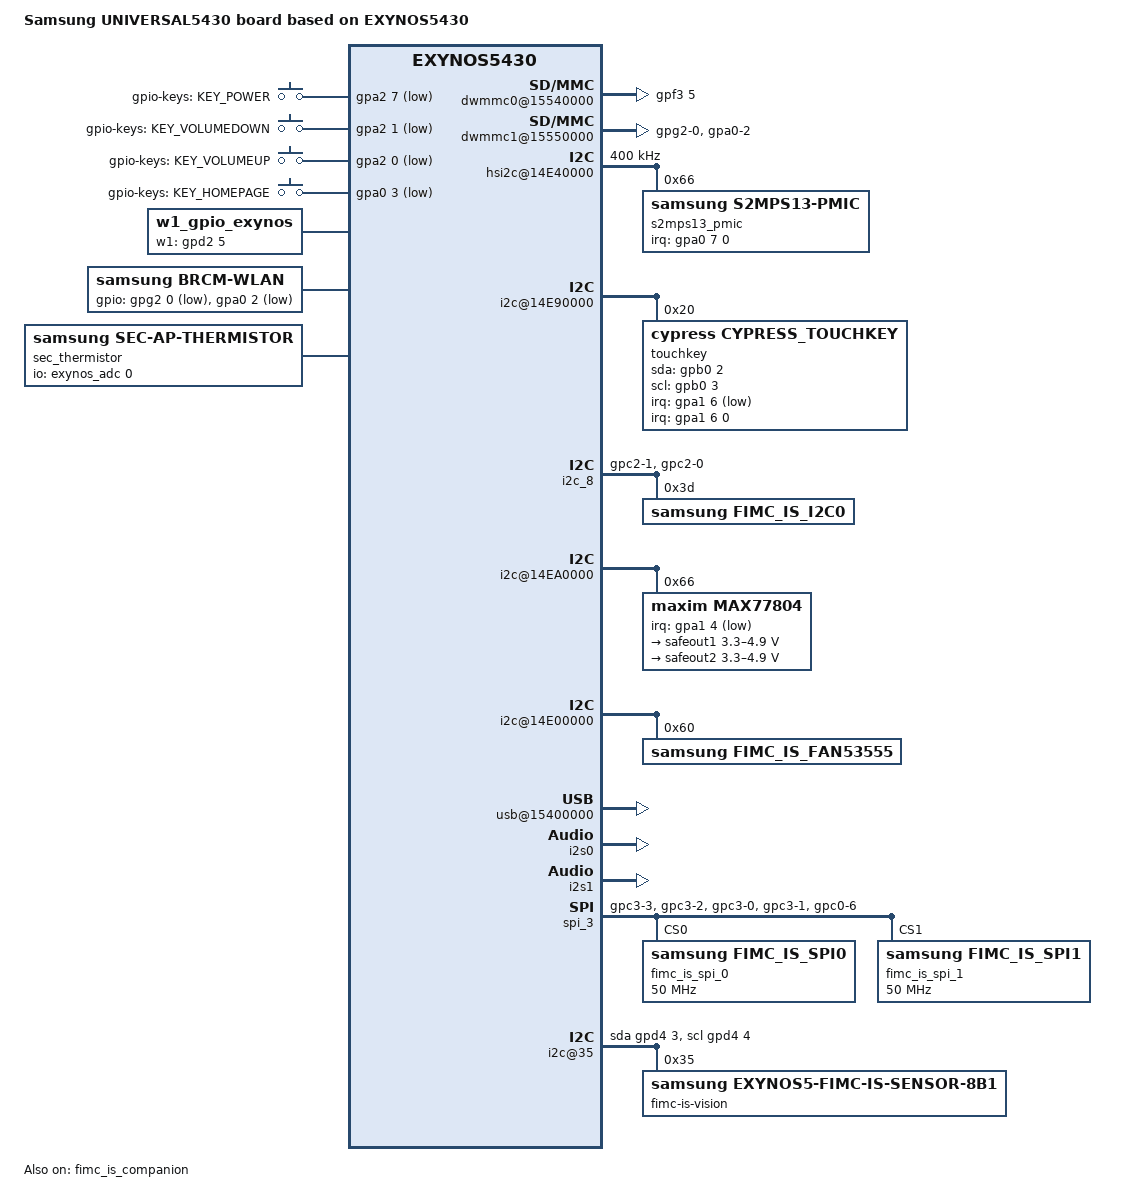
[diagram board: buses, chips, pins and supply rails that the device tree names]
/*
 * SAMSUNG UNIVERSAL5430 board device tree source
 *
 * Copyright (c) 2013 Samsung Electronics Co., Ltd.
 *		http://www.samsung.com
 *
 * This program is free software; you can redistribute it and/or modify
 * it under the terms of the GNU General Public License version 2 as
 * published by the Free Software Foundation.
*/

#include "exynos5430.dtsi"

/ {
	model = "Samsung UNIVERSAL5430 board based on EXYNOS5430";
	compatible = "samsung,UNIVERSAL5430", "samsung,exynos5430";

	chosen {
		bootargs = "console=ttySAC1,115200 vmalloc=512M";
	};

	fixed-rate-clocks {
		oscclk {
			compatible = "samsung,exynos5430-oscclk";
			clock-frequency = <24000000>;
		};
	};

	dwmmc0@15540000 {
		status = "okay";
		num-slots = <1>;
		broken-cd;
		bypass-smu;
		fixed_volt;
		clock-gate;
		enable-cclk-on-suspend;
		only_once_tune;
		supports-highspeed;
		supports-hs200-1-8v-mode;
		supports-ddr200-1-8v-mode;
		device-driver = <1>;
		supports-poweroff-notification;
		supports-ddr200-enhanced-strobe;
		error-retry;
		enable-cache-control;
		enable-no-sleep-cmd;
		qos_int_level = <200000>;
		extra_tuning;
		bypass-for-allpass;
		use-fine-tuning;
		use-enable-shift;
		ignore-phase = <(1 << 7 | 1 << 6)>;
		fifo-depth = <0x80>;
		card-detect-delay = <200>;
		samsung,dw-mshc-ciu-div = <3>;
		samsung,dw-mshc-sdr-timing = <3 0 2 0>;
		samsung,dw-mshc-ddr-timing = <3 0 3 2>;
		samsung,dw-mshc-hs200-timing = <3 0 3 0>;
		samsung,dw-mshc-ddr200-timing = <1 0 2 0>;
		samsung,dw-mshc-ddr200-delay-line = <100>;
		clk_pin = "gpr0-0";
		clk_addr = "15690000.pinctrl";
		clk_val = <0x2>;
		clk_str_num = <6>;
		num-ref-clks = <8>;
		ciu_clkin = <25 50 50 100 200 100 200 400>;
		pinctrl-names = "default";
		pinctrl-0 = <&sd0_clk &sd0_cmd &sd0_rdqs &sd0_bus1 &sd0_bus4 &sd0_bus8>;
		gpios = <&gpf3 5 0>;

		slot@0 {
			reg = <0>;
			bus-width = <8>;
		};
	};

	dwmmc1@15550000 {
		status = "okay";
		num-slots = <1>;
		channel = <1>;
		fixed_volt;
		clock-gate;
		enable-cclk-on-suspend;
		caps-control;
		supports-highspeed;
		supports-sdr104-mode;
		keep-power-in-suspend;
		pm-ignore-notify;
		cd-type-external;
		cd-type = <2>;
		use-broken-voltage;
		use-fine-tuning;
		ignore-phase = <(1 << 7)>;
		fifo-depth = <0x40>;
		card-detect-delay = <200>;
		qos_int_level = <200000>;
		samsung,dw-mshc-ciu-div = <3>;
		samsung,dw-mshc-sdr-timing = <3 0 2 1>;
		samsung,dw-mshc-ddr-timing = <3 0 3 2>;
		clk_pin = "gpr2-0";
		clk_addr = "15690000.pinctrl";
		clk_val = <0x2>;
		clk_str_num = <6>;
		num-ref-clks = <8>;
		ciu_clkin = <25 50 50 100 200 100 200 400>;
		tp_mon_depth = <3>;
						/* Byte/s,	 MIF clk, CPU clk, KFC clk*/
		tp_mon_table = <18000000 825000	2000000 1500000
						12000000 413000	0	0
						0	 0	0	0>;
		pinctrl-names = "default";
		//pinctrl-0 = <&sd1_clk &sd1_cmd &sd1_bus1 &sd1_bus4>;
		pinctrl-0 = <&sd1_clk &sd1_cmd &sd1_bus1 &sd1_bus4 &cfg_wlanen &cfg_wlanhostwake>; /* Set WLAN_EN configuration of power down mode */

		slot@0 {
			reg = <0>;
			bus-width = <4>;
		};
	};


	dwmmc2@15560000 {
		status = "disabled";
		num-slots = <1>;
		supports-highspeed;
		clock-gate;
		enable-cclk-on-suspend;
		caps-control;
		cd-type = <0>;
		fifo-depth = <0x40>;
		card-detect-delay = <200>;
		qos_int_level = <200000>;
		use-fine-tuning;
		samsung,dw-mshc-ciu-div = <3>;
		samsung,dw-mshc-sdr-timing = <3 0 2 1>;
		samsung,dw-mshc-ddr-timing = <3 0 3 2>;
		clk_pin = "gpr4-0";
		clk_addr = "15690000.pinctrl";
		clk_val = <0x2>;
		clk_str_num = <6>;
		num-ref-clks = <8>;
		ciu_clkin = <25 50 50 100 200 100 200 400>;
		pinctrl-names = "default", "output";
		pinctrl-0 = <&sd2_clk &sd2_cmd &sd2_cd &sd2_bus1 &sd2_bus4 &dwmmc2_cd_irq>;
		pinctrl-1 = <&sd2_clk_output &sd2_cmd_output &sd2_bus1 &sd2_bus4 &dwmmc2_cd_irq>;

		gpio-controller;
		#gpio-cells = <2>;
		cd-gpio = <&gpa2 4 0xf>;

		slot@0 {
			reg = <0>;
			bus-width = <4>;
			disable-wp;
		};
	};

	serial@11460000 {
		samsung,uart-wake-peer;
		irq_affinity = <4>;
		mif_qos_val = <633000>;
		cpu_qos_val = <800000>;
		qos_timeout = <1000000>;
	};

	pinctrl@10580000 {
		ok_sw: ok-sw {
			samsung,pins = "gpa0-3";
			samsung,pin-pud = <3>;
			samsung,pin-drv = <0>;
		};
		pmic_irq: pmic-irq {
			samsung,pins = "gpa0-7";
			samsung,pin-function = <0>;
			samsung,pin-pud = <3>;
			samsung,pin-drv = <3>;
		};

		chg_irq: chg-irq {
			samsung,pins = "gpa1-5";
			samsung,pin-function = <0>;
			samsung,pin-pud = <3>;
			samsung,pin-drv = <3>;
		};

		hall_irq: hall-irq {
			samsung,pins = "gpa0-1";
			samsung,pin-function = <0xf>;
			samsung,pin-pud = <0>;
			samsung,pin-drv = <0>;
		};

		mfd_irq: mfd-irq {
			samsung,pins = "gpa1-4";
			samsung,pin-function = <0>;
			samsung,pin-pud = <0>;
			samsung,pin-drv = <0>;
		};

		fuel_irq: fuel-irq {
			samsung,pins = "gpa1-5";
			samsung,pin-function = <0>;
			samsung,pin-pud = <0>;
			samsung,pin-drv = <0>;
		};

		dwmmc2_cd_irq: dwmmc2-cd-irq {
			samsung,pins = "gpa2-4";
			samsung,pin-function = <0xf>;
			samsung,pin-pud = <3>;
			samsung,pin-drv = <3>;
		};

		ssp_irq: ssp-irq {
			samsung,pins = "gpa3-3";
			samsung,pin-function = <0xf>;
			samsung,pin-pud = <3>;
			samsung,pin-drv = <3>;
		};
		ssp_irq2: ssp-irq2 {
			samsung,pins = "gpa3-4";
			samsung,pin-function = <0>;
			samsung,pin-pud = <3>;
			samsung,pin-drv = <3>;
		};

		wc_irq: wc-irq {
			samsung,pins = "gpa3-5";
			samsung,pin-function = <0>;
			samsung,pin-pud = <0>;
			samsung,pin-drv = <0>;
		};

		ssp_ap_int: ssp-ap-int {
			samsung,pins = "gpa3-7";
			samsung,pin-function = <0>;
			samsung,pin-pud = <3>;
			samsung,pin-drv = <3>;
		};
		hrm_int: hrm-int {
			samsung,pins = "gpa0-6";
			samsung,pin-function = <0>;
			samsung,pin-pud = <0>;
			samsung,pin-drv = <3>;
		};
	};
	pinctrl@14CC0000 {
		/* Warm reset information from AP */
		pm_wrsti: pm-wrsti {
			samsung,pins = "gpf5-4";
			samsung,pin-con-pdn = <3>;
		};
	};
	pinctrl@14CC0000 {
		/* touchkey i2c*/
		cfg_i2c: cfg-i2c {
			samsung,pins = "gpb0-3", "gpb0-2";
			samsung,pin-function = <3>;
			samsung,pin-pud = <0>;
			samsung,pin-drv = <0>;
		};
		cfg_gpio: cfg_gpio {
			samsung,pins = "gpb0-3", "gpb0-2";
			samsung,pin-function = <0>;
			samsung,pin-pud = <0>;
			samsung,pin-drv = <0>;
		};
	};

	pinctrl@10580000 {
		/* touchkey interrupt*/
		cfg_irq: cfg-irq {
			samsung,pins = "gpa1-6";
			samsung,pin-function = <0xf>;
			samsung,pin-pud = <0>;
			samsung,pin-drv = <0>;
		};
		cfg_input: cfg-input {
			samsung,pins = "gpa1-6";
			samsung,pin-function = <0>;
			samsung,pin-pud = <1>;
			samsung,pin-drv = <0>;
		};
	};

	hsi2c@14E40000 {
		samsung,hs-mode;
		clock-frequency = <400000>;
		status = "okay";

		s2mps13_pmic@66 {
			compatible = "samsung,s2mps13-pmic";
			reg = <0x66>;
			interrupts = <7 0 0>;
			interrupt-parent = <&gpa0>;
			pinctrl-names = "default";
			pinctrl-0 = <&pmic_irq &pm_wrsti>;
			ap-buck-avp-en;
			sub-buck-avp-en;
			/* RTC: wtsr/smpl */
			wtsr_en = <1>; /* enable */
			smpl_en = <1>; /* enable */
			wtsr_timer_val = <3>;	/* 1000ms */
			smpl_timer_val = <4>;	/* 500ms */
			check_jigon = <0>; /* do not check jigon */
			/* RTC: If it's first boot, reset rtc to 1/1/2014 12:00:00(Wed) */
			init_time,sec = <0>;
			init_time,min = <0>;
			init_time,hour = <12>;
			init_time,mday = <1>;
			init_time,mon = <0>;
			init_time,year = <114>;
			init_time,wday = <3>;
		};
	};

	i2c@14E90000 {
		samsung,i2c-sda-delay = <100>;
		samsung,i2c-max-bus-freq = <400000>;
		status = "okay";
		pinctrl-names = "default","on_i2c","off_i2c";
		pinctrl-0 = <&i2c5_bus>;
		pinctrl-1 = <&cfg_i2c>;
		pinctrl-2 = <&cfg_gpio>;
		touchkey@20 {
			pinctrl-names = "on_irq","off_irq";
			pinctrl-0 = <&cfg_irq>;
			pinctrl-1 = <&cfg_input>;
			compatible = "cypress,cypress_touchkey";
			reg = <0x20>;
			interrupts = <6 0 0>;
			interrupt-parent = <&gpa1>;
			cypress,sda-gpio = <&gpb0 2 0>;
			cypress,scl-gpio = <&gpb0 3 0>;
			cypress,irq-gpio = <&gpa1 6 1>;
			cypress,ic_type = <20055>;
			cypress,fw_path = "cypress/cypress_slte.fw";
			cypress,boot_on_ldo;
			cypress,led_by_ldo;
			cypress,glove_mode_keep_status;
			cypress,multi-touchkey-fw-version = <0x0d>;
		};
	};

	i2c_8: i2c@14130000 {
                compatible = "samsung,exynos5430-fimc-i2c";
                reg = <0x14130000 0x1000>;
                interrupts = <0 166 0>; /* NON */
                #address-cells = <1>;
                #size-cells = <0>;
                pinctrl-names = "default";
                pinctrl-0 = <&fimc_is_i2c_0>;
                clocks = <&clock 4184>, <&clock 4184>; /* No clock gating */
                clock-names = "rate_i2c","gate_i2c";
                samsung,i2c-sda-delay = <100>;
                samsung,i2c-max-bus-freq = <400000>;
                status = "okay";

                fimc_is_i2c0@3d {
                        compatible = "samsung,fimc_is_i2c0";
                        reg = <0x3d>;
                };
        };


	i2c@14EA0000 {
		samsung,i2c-sda-delay = <100>;
		samsung,i2c-max-bus-freq = <400000>;
		status = "okay";

		max77804@66 {
			compatible = "maxim,max77804";
			reg = <0x66>;
			pinctrl-names = "default";
			pinctrl-0 = <&mfd_irq &wc_irq &vibetonz_pwm>;
			max77804,irq-gpio = <&gpa1 4 1>;
			max77804,irqf-trigger = "low_level";
			max77804,wakeup;

			regulators {
				safeout1: ESAFEOUT1 {
					regulator-compatible = "safeout1";
					regulator-name = "safeout1_range";
					regulator-min-microvolt = <3300000>;
					regulator-max-microvolt = <4900000>;
					regulator-boot-on;
				};

				safeout2: ESAFEOUT2 {
					regulator-compatible = "safeout2";
					regulator-name = "safeout2_range";
					regulator-min-microvolt = <3300000>;
					regulator-max-microvolt = <4900000>;
				};
			};
		};

		max77828@49 {
			status = "disabled";
			compatible = "maxim,max77828";
			reg = <0x49>;
			pinctrl-names = "default";
			pinctrl-0 = <&mfd_irq &vibetonz_pwm>;
			max77828,irq-gpio = <&gpa1 4 1>;
			max77828,wakeup;

			haptic {
				haptic,max_timeout = <10000>;
				haptic,duty = <34500>;
				haptic,period = <38240>;
				haptic,pwm_id = <0>;
				haptic,regulator_name = "VCC_3.0V_MOTOR_AP";
			};
		};

	};

	haptic {
		status = "okay";
		haptic,max_timeout = <10000>;
		haptic,duty = <28000>;
		haptic,period = <33500>;
		haptic,reg2 = <0x82>;
		haptic,pwm_id = <0>;
		haptic,regulator_name = "VCC_3.0V_MOTOR_AP";
	};

	torch {
		status = "okay";
		leds1 {
			ledname = "leds-sec1";
		/* MAX77804_FLASH_LED_1 */
			id = <0>;
		/* MAX77804_FLASH_TIME_187P5MS */
			timer = <2>;
		/* MAX77804_TIMER_MODE_MAX_TIMER */
			timer_mode = <1>;
		/* MAX77804_LED_CTRL_BY_FLASHSTB */
			cntrl_mode = <0>;
			brightness = <0x3D>;
		};
		leds2 {
			ledname = "torch-sec1";
		/* MAX77804_TORCH_LED_1 */
			id = <1>;
		/* MAX77804_LED_CTRL_BY_FLASHSTB */
			cntrl_mode = <0>;
			brightness = <0x06>;
		};
	};

	i2c@14E00000 {
		fimc_is_fan53555@60 {
			compatible = "samsung,fimc_is_fan53555";
			reg = <0x60>;
			comp_en = <&gpf1 7 0x01>;
			status = "okay";
		};
	};

	pinctrl@10580000 {
		disp_pcd: disp_pcd {
			samsung,pins = "gpa0-5";
			samsung,pin-function = <0xf>;
			samsung,pin-pud = <1>;
		};
	};

	pinctrl@14CC0000 {
		disp_errfg: disp_errfg {
			samsung,pins = "gpb0-4";
			samsung,pin-function = <0xf>;
			samsung,pin-pud = <1>;
		};
		disp_errfg_off: disp_errfg_off {
			samsung,pins = "gpb0-4";
			samsung,pin-function = <1>;
			samsung,pin-pud = <1>;
			samsung,pin-val = <0>;
		};
		disp_id: disp_id {
			samsung,pins = "gpf2-1";
			samsung,pin-function = <0>;
			samsung,pin-pud = <1>;
		};
	};

	/* disp_driver */
	decon_fb: decon_fb {
		oled-id-gpio = <&gpf2 1 0x0>;
		oled-pcd-gpio = <&gpa0 5 0xf>;
		oled-errfg-gpio = <&gpb0 4 0xf>;
		lcd_info = <&ea8064g_488 &ea8064g>;
		decon_board = <&decon_board_list>;

		pinctrl-names = "default", "turnon_tes", "turnoff_tes", "errfg_off";
		pinctrl-0 = <&disp_id &disp_pcd &disp_errfg>;
		pinctrl-1 = <&disp_id &disp_pcd &disp_errfg &disp_teson>;
		pinctrl-2 = <&disp_id &disp_tesoff>;
		pinctrl-3 = <&disp_id &disp_pcd &disp_errfg_off &disp_teson>;

		mipi_dsi: mipi_dsi {
			/* Interface definition: 0 - DSIM_COMMAND,
						 1 - DSIM_VIDEO */
			e_interface = <0>;

			/* Pixel format : 0 - DSIM_CMD_3BPP,
					  1 - DSIM_CMD_8BPP,
					  2 - DSIM_CMD_12BPP,
					  3 - DSIM_CMD_16BPP,
					  4 - DSIM_VID_16BPP_565,
					  5 - DSIM_VID_18BPP_666PACKED,
					  6 - DSIM_18BPP_666LOOSELYPACKED,
					  7 - DSIM_24BPP_888 */
			e_pixel_format = <7>;

			/* main frame fifo auto flush at VSYNC pulse */
			auto_flush = <0>;
			eot_disable = <1>;
			auto_vertical_cnt = <0>;
			hse = <0>;
			hfp = <0>;
			hbp = <0>;
			hsa = <0>;

			/* num of data lane : 0 - DSIM_DATA_LANE_1,
					      1 - DSIM_DATA_LANE_2,
					      2 - DSIM_DATA_LANE_3,
					      3 - DSIM_DATA_LANE_4 */
			e_no_data_lane = <3>;
			/* byte clock divider : 0 - DSIM_PLL_OUT_DIV8,
						1 - DSIM_EXT_CLK_DIV8,
						2 - DSIM_EXT_CLK_BYPASS */
			e_byte_clk = <0>;
			/* Burst mode : 0 - DSIM_NON_BURST_SYNC_EVENT,
					2 - DSIM_NON_BURST_SYNC_PULSE,
					1 - DSIM_BURST
					4 - DSIM_NON_VIDEO_MODE */
			e_burst_mode = <1>;
			/* D-PHY PLL stable time spec :min = 200usec ~ max 400usec */
			pll_stable_time = <22200>;
			/* stop state holding counter after bta change count 0 ~ 0xfff */
			stop_holding_cnt = <10>;
			/* bta timeout 0 ~ 0xff */
			bta_timeout = <0xff>;
			/* lp rx timeout 0 ~ 0xffff */
			rx_timeout = <0xffff>;
		};
		ea8064g_488: ea8064g_488 {
			mode = <0>;
			resolution = <720 1280>;
			size = <58 104>;
			timing,refresh = <60>;
			timing,h-porch = <1 1 1>;
			timing,v-porch = <12 1 1>;
			timing,dsi-hs-clk = <488>;
			timing,dsi-escape-clk = <16>;
			timing,hsync-2h-cycle = <1>;
			type_of_ddi = <1>; /* 0:Samsung Mobile, 1:MAGNA, 2:Normal(Etc) */
		};
		ea8064g: ea8064g_hd {
			mode = <0>;
			resolution = <720 1280>;
			size = <58 104>;
			timing,refresh = <60>;
			timing,h-porch = <1 1 1>;
			timing,v-porch = <12 1 1>;
			timing,dsi-hs-clk = <448>;
			timing,dsi-escape-clk = <16>;
			timing,hsync-2h-cycle = <1>;
			type_of_ddi = <1>; /* 0:Samsung Mobile, 1:MAGNA, 2:Normal(Etc) */
		};

		decon_board_list: decon_board_list {
			enable_display_driver_power {
				type = "regulator,enable", "gpio,high", "regulator,enable", "delay,usleep", "pinctrl,default", "pinctrl,turnon_tes";
				desc = "Turn on VDDI(VDD3): 1.8", "Turn on VDDR(VDDI_REG): 1.5", "Turn on VCI: 3.0", "Wait 10ms", "default", "turnon_tes";
				gpios = <&gpf1 5 0x1>;
				delay = <10000 11000>;
				regulator = "VCC_1.8V_LCD_AP", "VCC_3.0V_LCD_AP";
			};
			disable_display_driver_power {
				type = "gpio,low", "regulator,disable", "gpio,low", "delay,usleep", "regulator,disable", "pinctrl,turnoff_tes";
				desc = "", "Turn off VCI: 3.0", "Turn on VDDR(VDDI_REG): 1.5", "Wait 3ms", "Turn off VDDI(VDD3): 1.8", "turnoff_tes";
				gpios = <&gpv7 2 0x1>, <&gpf1 5 0x1>;
				delay = <3000 5000>;
				regulator = "VCC_3.0V_LCD_AP", "VCC_1.8V_LCD_AP";
			};
			reset_display_driver_panel {
				type = "gpio,high", "delay,usleep", "gpio,low", "delay,usleep", "gpio,high", "delay,usleep";
				gpios = <&gpv7 2 0x1>, <&gpv7 2 0x1>, <&gpv7 2 0x1>;
				delay = <5000 6000>, <5000 6000>, <10000 11000>;
			};
		};
	};

	usb@15400000 {
		status = "okay";
		/* using gpio (1:use, 0:not use) */
		is_gpio = <0>;

		dwc3 {
			maximum-speed = "high-speed";
			dr_mode = "otg";
		};
	};

	usb@15510000 {
		/* using gpio (1:use, 0:not use) */
		is_gpio = <0>;
	};

	usb_notifier {
		compatible = "samsung,usb-notifier";
	};

	gpio_keys {
		compatible = "gpio-keys";
		#address-cells = <1>;
		#size-cells = <0>;
		poll-interval = <100>;
		pinctrl-names = "default";
		pinctrl-0 = <&ok_sw>;
		button@1 {
			label = "gpio-keys: KEY_POWER";
			interrupts = <7 0 0>;
			interrupt-parent = <&gpa2>;
			linux,code = <116>;
			gpios = <&gpa2 7 0xf>;
			gpio-key,wakeup = <1>;
		};
		button@2 {
			label = "gpio-keys: KEY_VOLUMEDOWN";
			interrupts = <1 0 0>;
			interrupt-parent = <&gpa2>;
			linux,code = <114>;
			gpios = <&gpa2 1 0xf>;
		};
		button@3 {
			label = "gpio-keys: KEY_VOLUMEUP";
			interrupts = <0 0 0>;
			interrupt-parent = <&gpa2>;
			linux,code = <115>;
			gpios = <&gpa2 0 0xf>;
		};
		button@4 {
			label = "gpio-keys: KEY_HOMEPAGE";
			interrupts = <3 0 0>;
			interrupt-parent = <&gpa0>;
			linux,code = <172>;
			gpios = <&gpa0 3 0xf>;
			gpio-key,wakeup = <1>;
		};
	};

	sec_input_debug-keys {
		compatible = "sec_input_debug-keys";

		button@1 {
			label = "debug-keys: KEY_POWER";
			linux,code = <116>;
		};
		button@2 {
			label = "debug-keys: KEY_VOLUMEDOWN";
			linux,code = <114>;
			state = "true";
		};
		button@3 {
			label = "debug-keys: KEY_VOLUMEUP";
			linux,code = <115>;
		};
	};

	i2s0: i2s@11440000 {
		status = "okay";
	};

	i2s1: i2s@14D60000 {
		status = "okay";
	};

	spi_3: spi@141a0000 {
		clocks = <&clock 2626>, <&clock 4083>; /* Workaround for SPI read in A5 */
		clock-names = "spi", "spi_busclk0";    /* Must be removed later */
		#address-cells = <1>;
		#size-cells = <0>;
		pinctrl-names ="default";
		pinctrl-0 = <&fimc_is_spi_pin0 &fimc_is_spi_ssn0>;

		num-cs = <2>;

		fimc_is_spi_0@0 {
			compatible = "samsung,fimc_is_spi0";
			spi-max-frequency = <50000000>;
			reg = <0x0>;

			controller-data {
				cs-gpio = <&gpc0 6 0>;
				samsung,spi-feedback-delay = <2>;
			};
		};

		fimc_is_spi_1@1 {
			compatible = "samsung,fimc_is_spi1";
			fimc_is_spi_sclk = "gpc3-0";
			fimc_is_spi_ssn = "gpc3-1";
			fimc_is_spi_miso = "gpc3-2";
			fimc_is_spi_mois = "gpc3-3";
			spi-max-frequency = <50000000>;
			reg = <0x1>;
			pinctrl-names = "default";
			pinctrl-0 = <&fimc_is_comp_int>;

			controller-data {
				cs-gpio = <&gpc3 1 0>;
				samsung,spi-feedback-delay = <3>;
			};
		};
	};

	/* Companion driver */
	fimc_is_companion: fimc_is_companion@14180000 {
		compatible = "samsung,exynos5-fimc-is-companion";
		pinctrl-names ="default", "ch0", "af0", "off0";
		pinctrl-0 = <&fimc_is_ch0_mclk_off>;
		pinctrl-1 = <&fimc_is_ch0_mclk>;
		pinctrl-2 = <&fimc_is_ch0_mclk &fimc_is_ch1_i2c>;
		pinctrl-3 = <&fimc_is_ch0_mclk_off>;

		scenario = <0>;
		mclk_ch = <0>;
		sensor_id = <15>;

		gpios_cam_en = <&gpc0 5 0x1>;
		gpio_reset = <&gpc0 4 0x1>;
		gpios_comp_en = <&gpf1 7 0x1>; /* COMP_EN */
		gpios_comp_reset = <&gpf5 7 0x1>; /* COMP_rstn */
		companion_use_pmic;

		status = "okay";
	};

	fimc_is_sensor0: fimc_is_sensor@12100000 {
		scenario = <0>;
		gpio_reset = <&gpc0 4 0x1>;
		id = <0>;
		mclk_ch = <0>;
		csi_ch = <0>;
		flite_ch = <0>;
		i2c_ch = <0x100>;
		i2c_addr = <0x5A5A>;
		flash_first_gpio = <1>;
		flash_second_gpio = <2>;
		sensor_name = "2p2_12m";
		sensor_id = <15>;
		is_bns = <1>;
		status = "okay";
	};

	fimc_is_sensor1: fimc_is_sensor@12110000 {
		pinctrl-names ="default", "ch2", "off2";
		pinctrl-0 = <&fimc_is_ch2_mclk_off>;
		pinctrl-1 = <&fimc_is_ch2_i2c &fimc_is_ch2_mclk>;
		pinctrl-2 = <&fimc_is_ch2_mclk_off>;

		scenario = <0>;
		gpio_reset = <&gpc0 3 0x1>;
		gpio_standby = <&gpc0 0 0x1>;
		id = <1>;
		mclk_ch = <2>;
		csi_ch = <2>;
		flite_ch = <2>;
		i2c_ch = <0x2>;
		i2c_addr = <0x6A>;
		sensor_name = "8b1";
		sensor_id = <11>;
		is_bns = <0>;
		status = "okay";
	};

	fimc_is@14000000 {
		interrupts = <0 165 0>; /* Remove ISP_GIC to use FIMC IS i2c channel in host */
		companion_spi_channel = <0>;
		use_vision = <1>;
		use_sensor_dynamic_voltage_mode = <1>;
		use_module_check;
		fimc_is_dvfs {
			default_int = <543000>; /* L0_A */
			default_cam = <466000>; /* L0 */
			default_mif = <825000>; /* L0 */
			default_i2c = <0>;

			front_preview_int = <267000>; /* L2 */
			front_preview_cam = <222000>; /* L5 */
			front_preview_mif = <413000>; /* L2 */
			front_preview_i2c = <0>;

			front_capture_int = <267000>; /* L2 */
			front_capture_cam = <222000>; /* L5 */
			front_capture_mif = <413000>; /* L2 */
			front_capture_i2c = <0>;

			front_camcording_int = <267000>; /* L2 */
			front_camcording_cam = <222000>; /* L5 */
			front_camcording_mif = <413000>; /* L2 */
			front_camcording_i2c = <0>;

			front_vt1_int = <267000>; /* L2 */
			front_vt1_cam = <222000>; /* L5 */
			front_vt1_mif = <413000>; /* L2 */
			front_vt1_i2c = <0>;

			front_vt2_int = <267000>; /* L2 */
			front_vt2_cam = <222000>; /* L5 */
			front_vt2_mif = <413000>; /* L2 */
			front_vt2_i2c = <0>;

			rear_preview_fhd_int = <267000>; /* L2 */
			rear_preview_fhd_cam = <333000>; /* L4 */
			rear_preview_fhd_mif = <413000>; /* L2 */
			rear_preview_fhd_i2c = <0>;

			rear_preview_whd_int = <400000>; /* L0 */
			rear_preview_whd_cam = <450000>; /* L1 */
			rear_preview_whd_mif = <825000>; /* L0 */
			rear_preview_whd_i2c = <0>;

			rear_preview_uhd_int = <543000>; /* L0_A */
			rear_preview_uhd_cam = <450000>; /* L1 */
			rear_preview_uhd_mif = <825000>; /* L0 */
			rear_preview_uhd_i2c = <0>;

			rear_capture_int = <317000>; /* L1 */
			rear_capture_cam = <466000>; /* L0 */
			rear_capture_mif = <633000>; /* L1 */
			rear_capture_i2c = <0>;

			rear_camcording_fhd_int = <267000>; /* L2 */
			rear_camcording_fhd_cam = <333000>; /* L4 */
			rear_camcording_fhd_mif = <413000>; /* L2 */
			rear_camcording_fhd_i2c = <0>;

			rear_camcording_whd_int = <543000>; /* L0_A */
			rear_camcording_whd_cam = <466000>; /* L0 */
			rear_camcording_whd_mif = <825000>; /* L0 */
			rear_camcording_whd_i2c = <0>;

			rear_camcording_uhd_int = <543000>; /* L0_A */
			rear_camcording_uhd_cam = <450000>; /* L1 */
			rear_camcording_uhd_mif = <633000>; /* L1 */
			rear_camcording_uhd_i2c = <0>;

			dual_preview_int = <317000>; /* L1 */
			dual_preview_cam = <447000>; /* L2 */
			dual_preview_mif = <633000>; /* L1 */
			dual_preview_i2c = <0>;

			dual_capture_int = <317000>; /* L1 */
			dual_capture_cam = <466000>; /* L0 */
			dual_capture_mif = <825000>; /* L0 */
			dual_capture_i2c = <0>;

			dual_camcording_int = <317000>; /* L1 */
			dual_camcording_cam = <447000>; /* L2 */
			dual_camcording_mif = <633000>; /* L1 */
			dual_camcording_i2c = <0>;

			high_speed_fps_int = <400000>; /* L0 */
			high_speed_fps_cam = <450000>; /* L1 */
			high_speed_fps_mif = <633000>; /* L1 */
			high_speed_fps_i2c = <0>;

			dis_enable_int = <543000>; /* L0_A */
			dis_enable_cam = <450000>; /* L1 */
			dis_enable_mif = <825000>; /* L0 */
			dis_enable_i2c = <0>;

			max_int = <543000>; /* L0_A */
			max_cam = <466000>; /* L0 */
			max_mif = <825000>; /* L0 */
			max_i2c = <0>;
		};
	};

	pinctrl@14CC0000 {
		fimc_is_i2c_0: fimc-is-i2c-0 {
			samsung,pins = "gpc2-1", "gpc2-0";
			samsung,pin-function = <2>;
			samsung,pin-pud = <0>;
			samsung,pin-drv = <6>;
		};
		fimc_is_spi_pin0: fimc-is-spi-pin0 {
			samsung,pins = "gpc3-3", "gpc3-2", "gpc3-0";
			samsung,pin-function = <0>;
			samsung,pin-pud = <1>;
			samsung,pin-drv = <0>;
		};
		fimc_is_spi_ssn0: fimc-is-spi-ssn0 {
			samsung,pins = "gpc3-1", "gpc0-6";
			samsung,pin-function = <0>;
			samsung,pin-pud = <0>;
			samsung,pin-drv = <0>;
		};
		fimc_is_flash: fimc-is-flash {
			samsung,pins = "gpc0-2", "gpc0-1";
			samsung,pin-function = <2>;
			samsung,pin-pud = <1>;
			samsung,pin-drv = <0>;
		};
		driver_flash: driver-flash {
			samsung,pins = "gpc0-2", "gpc0-1";
			samsung,pin-function = <1>;
			samsung,pin-pud = <0>;
			samsung,pin-drv = <0>;
		};
		fimc_is_comp_int: fimc-is-comp-int {
			samsung,pins = "gpc1-0";
			samsung,pin-function = <3>;
			samsung,pin-pud = <1>;
			samsung,pin-drv = <0>;
		};
		sky_torch: sky-torch {
			samsung,pins = "gpc0-5";
			samsung,pin-function = <1>;
			samsung,pin-pud = <0>;
			samsung,pin-drv = <0>;
		};
		uart1_bus: uart1-bus {
			samsung,pins = "gpd1-1", "gpd1-0";
			samsung,pin-function = <2>;
			samsung,pin-pud = <0>;
		};

		uart2_bus: uart2-bus {
			samsung,pins = "gpd1-5", "gpd1-4";
			samsung,pin-function = <0>;
			samsung,pin-pud = <1>;
		};

		fimc_is_ch0_mclk: fimc-is-ch0_mclk {
			samsung,pin-drv = <1>;
		};

		fimc_is_ch0_mclk_off: fimc-is-ch0_mclk_off {
			samsung,pins = "gpd7-0";
			samsung,pin-function = <1>;
			samsung,pin-pud = <1>;
			samsung,pin-drv = <0>;
		};

		fimc_is_ch2_mclk: fimc-is-ch2-mclk {
			samsung,pin-drv = <1>;
		};

		fimc_is_ch2_mclk_off: fimc-is-ch2_mclk_off {
			samsung,pins = "gpd7-2";
			samsung,pin-function = <1>;
			samsung,pin-pud = <1>;
			samsung,pin-drv = <0>;
		};
	};

	pinctrl@14CC0000 {
		ssp_reset: ssp-reset {
			samsung,pins = "gpd4-0";
			samsung,pin-function = <0>;
			samsung,pin-pud = <3>;
			samsung,pin-drv = <3>;
		};
	};

	i2s_dummy: dummy-i2s {
		compatible = "snd-soc-dummy";
		status = "okay";
	};

	codec_dummy: dummy-codec {
		compatible = "samsung,dummy-codec";
		status = "okay";
	};

	sound {
		compatible = "samsung,pacific-arizona";
		samsung,audio-cpu = <&i2s0>;
		samsung,audio-codec = <&audio_codec
				       &audio_codec /* NULL */
				       &audio_codec /* NULL */
				       &audio_codec
				       &audio_codec
				       &audio_codec
				       &audio_codec
				       &audio_codec
				       &audio_codec
				       &audio_codec>;
		clocks = <&clock 5050>;
		clock-names = "mclk";
		status = "okay";
	};

	hdmi {
		compatible = "samsung,pacific-hdmi";
		samsung,audio-cpu = <&i2s1>;
		samsung,audio-codec = <&codec_dummy>;
		status = "okay";
	};

	muic {
		status = "disabled";
		muic,support-list = "OTG","Charging Cable",
				    "Jig USB On","Jig UART Off",
				    "Jig UART Off + VB","Jig UART On",
				    "TA","USB","CDP","Unofficial","Undefined Charging",
				    "Fuelgauge test",
				    "Deskdock","Deskdock + VB";
	};

	hall {
		status = "okay";
		compatible = "hall";
		pinctrl-names = "default";
		pinctrl-0 = <&hall_irq>;
		hall,gpio_flip_cover = <&gpa0 1 0>;
	};

	w1_gpio_exynos {
		status = "okay";
		compatible = "w1_gpio_exynos";
		is_open_drain = <1>;
		slave_speed = <1>;
		w1,gpio = <&gpd2 5 0>;
	};

	i2c@35{
		compatible = "i2c-gpio";
		gpios = <&gpd4 3 0 /* sda */
		         &gpd4 4 0 /* scl */
		        >;
		i2c-gpio,delay-us = <2>;
		#address-cells = <1>;
		#size-cells = <0>;
		status = "okay";

		fimc-is-vision@35 {
			compatible = "samsung,exynos5-fimc-is-sensor-8b1";
			reg = <0x35>;
		};
	};

	pinctrl@14CC0000 {
		cfg_wlanen: cfg-wlanen {
			samsung,pins = "gpg2-0";
			samsung,pin-function = <1>;
			samsung,pin-pud = <0>;
			samsung,pin-drv = <3>;
			samsung,pin-con-pdn = <3>;
			samsung,pin-pud-pdn = <0>;
		};
	};

	pinctrl@10580000 {
		cfg_wlanhostwake: cfg-wlanhostwake {
			samsung,pins = "gpa0-2";
			samsung,pin-function = <0>;
			samsung,pin-pud = <1>;
			samsung,pin-con-pdn = <2>;
			samsung,pin-pud-pdn = <0>;
		};
	};

	wlan {
		compatible = "samsung,brcm-wlan";
		gpios = <&gpg2 0 0x1	/* WLAN_EN */
				&gpa0 2 0xF	/* WLAN_HOST_WAKE */
				>;
		pinctrl-names = "default";
		pinctrl-0=<&cfg_wlanen &cfg_wlanhostwake>;
		status = "okay";
	};

	input_booster {
		status = "okay";
		compatible = "input_booster";
		#address-cells = <1>;
		#size-cells = <0>;

		booster_key@1{
			input_booster,label = "TOUCH";
			input_booster,type = <0>;	/* BOOSTER_DEVICE_TOUCH */

			input_booster,levels = <1 2 3 4 5 9 10>;

			/* Frequency table */
			/* for level	:		1_Head, 2_Tail, 3_Head, 4_Head/Tail, 5_Head, 9_Head, 9_Tail */
			input_booster,cpu_freqs = <0 0 0 0 0 1800000 1400000>;
			input_booster,hmp_boost = <0 0 0 0 0 1 1>;
			input_booster,kfc_freqs = <1300000 1200000 1200000 1200000 1200000 1300000 1300000>;
			input_booster,mif_freqs = <633000 413000 413000 413000 413000 825000 825000>;
			input_booster,int_freqs = <267000 0 0 0 0 400000 400000>;

			/* Time table */
			input_booster,head_times = <130 130 130 130 130 500 0>;
			input_booster,tail_times = <500 500 500 200 500 1000 0>;
			input_booster,phase_times = <0 0 0 0 0 0 0>;
		};
		/* If you need to add new key type, add it this position */
	};

	ion {
		compatible = "samsung,exynos5430-ion";

		contig-names = "common",
			       "video_ext",
			       "mfc_sh",
			       "g2d_wfd",
			       "video",
			       "sectbl",
			       "mfc_fw",
			       "mfc_nfw",
			       "secdma";

		contig = <0 0x400000 0x0>,
		         <1 0x600000 0x0>,
		         <2 0x100000 0x0>,
		         <10 0x800000 0x0>,
		         <11 0x6600000 0x0>,
		         <9 0x100000 0x0>,
		         <8 0x300000 0x0>,
		         <12 0x300000 0x0>,
		         <13 0x20000 0x0>;

		contig-isolate_on_boot = <0>, <1>, <2>, <8>,
					  <9>, <10>, <11>, <12>, <13>;

		secure = <11>, <9>, <8>, <1>;

		ion_noncontig_heap {
			id-type = <0 0>;
		};

		exynos_contig_heap {
			id-type = <4 6>;
		};
	};

	ipa_pdata {
		compatible = "samsung,exynos-ipa";

		control_temp = <80>;
		temp_threshold = <10>;
		enabled = <1>;
		tdp = <3500>;
		boost = <1>;
		ros_power = <500>;
		a7_weight = <1024>;
		a15_weight = <256>;
		gpu_weight = <256>;
		a7_max_power = <1000>;
		a15_max_power = <6552>;
		gpu_max_power = <3110>;
		hotplug_out_threshold = <5>;
		hotplug_in_threshold = <0>;
		enable_ctlr = <1>;
		ctlr.mult = <2>;
		ctlr.k_i = <1>;
		ctlr.k_d = <0>;
		ctlr.feed_forward = <1>;
		ctlr.integral_reset_value = <0>;
		ctlr.integral_cutoff = <0>;
		ctlr.integral_reset_threshold = <5>;
	};

	sec_thermistor {
		compatible = "samsung,sec-ap-thermistor";
		status = "okay";

		adc_array = <261 269 277 285 293 301 309 317 325 333
			341 351 361 372 382 392 409 426 443 460
			475 494 513 532 551 569 585 601 617 633
			648 698 748 772 796 821 859 898 936 975
			1013 1038 1063 1099 1135 1172 1199 1226 1271 1316
			1361 1399 1437 1472 1507 1541 1590 1639 1679 1719
			1760 1803 1846 1890 1934 1977 2019 2061 2103 2145
			2186 2225 2264 2303 2342 2381 2420 2459 2498 2537
			2577 2613 2649 2685 2721 2757 2793 2830 2866 2903
			2940 2968 2996 3024 3052 3080 3108 3136 3164 3192
			3217 3237 3258 3278 3299 3319 3340 3360 3381 3401
			3422>;
		temp_array = <900 890 880 870 860 850 840 830 820 810
			800 790 780 770 760 750 740 730 720 710
			700 690 680 670 660 650 640 630 620 610
			600 590 580 570 560 550 540 530 520 510
			500 490 480 470 460 450 440 430 420 410
			400 390 380 370 360 350 340 330 320 310
			300 290 280 270 260 250 240 230 220 210
			200 190 180 170 160 150 140 130 120 110
			100 90 80 70 60 50 40 30 20 10
			0 (-10) (-20) (-30) (-40) (-50) (-60) (-70) (-80) (-90)
			(-100) (-110) (-120) (-130) (-140) (-150) (-160) (-170) (-180) (-190)
			(-200)>;

		io-channels = <&exynos_adc 0>;
		io-channel-names = "adc-ap-temp";
		io-channel-ranges;
	};

	secgpio_dvs {
		compatible = "samsung,exynos5430-secgpio-dvs";
		status = "okay";
	};

	argos {
		compatible = "samsung,argos";
		#address-cells = <1>;
		 /*  The device number should be assigned for each device, e.g. "boot_device@1" and "boot_device@2".
		   Duplicated number is not allowed. Please refer the below example. */

		 boot_device@1 {
			net_boost,label="IPC";
			net_boost,node="rmnet0 rmnet1 rmnet2 rmnet3 rmnet4 rmnet5 rmnet6 rmnet7";
			net_boost,table_size = <2>;
			net_boost,table= <100 0 0 1100000 0 825000 100000 0 1 0
					  130 0 0 1300000 0 825000 100000 0 1 0>;
		};
		 boot_device@2 {
			 net_boost,label="EMMC";
			 net_boost,node="";
			 net_boost,sysnode="/sys/class/mmc_host/mmc0/trans_count";
			 net_boost,table_size = <1>;
			/* <Throughput(Mbps) ARM_min ARM_max KFC_min KFC_max MIF INT Task Irq HMPBoost> */
			 net_boost,table= <64 0 0 1300000 0 825000 0 0 0 0>;
		 };
	};

	fimg2d_pdata {
		g2d_qos_table {
			g2d_qos_variant_0 {
				freq_int = <400000>;
				freq_mif = <825000>;
				freq_cpu = <1500000>;
				freq_kfc = <1300000>;
			};
			g2d_qos_variant_1 {
				freq_int = <400000>;
				freq_mif = <825000>;
				freq_cpu = <0>;
				freq_kfc = <800000>;
			};
			g2d_qos_variant_2 {
				freq_int = <317000>;
				freq_mif = <543000>;
				freq_cpu = <0>;
				freq_kfc = <800000>;
			};
			g2d_qos_variant_3 {
				freq_int = <267000>;
				freq_mif = <413000>;
				freq_cpu = <0>;
				freq_kfc = <800000>;
			};
			g2d_qos_variant_4 {
				freq_int = <267000>;
				freq_mif = <413000>;
				freq_cpu = <0>;
				freq_kfc = <500000>;
			};
		};
	};
};
